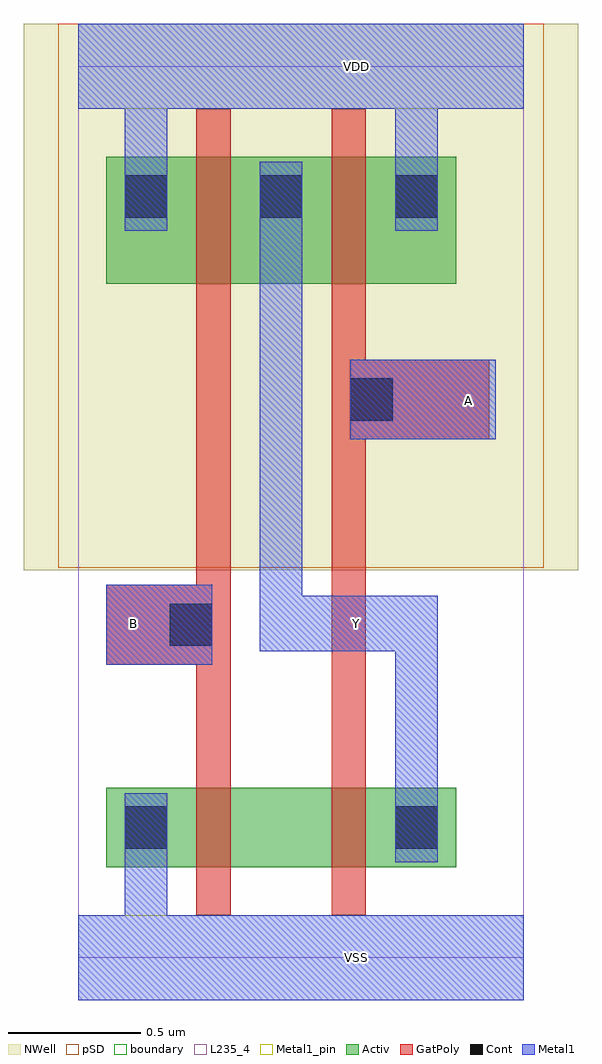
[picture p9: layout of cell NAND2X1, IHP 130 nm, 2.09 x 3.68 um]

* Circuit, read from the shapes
.subckt NAND2X1 A B VDD VSS Y
XM1 n1 B VSS VSUBS sg13_lv_nmos w=0.3u l=0.13u
XM2 Y A n1 VSUBS sg13_lv_nmos w=0.3u l=0.13u
XM3 Y B VDD n2 sg13_lv_pmos w=0.48u l=0.13u
XM4 VDD A Y n2 sg13_lv_pmos w=0.48u l=0.13u
.ends

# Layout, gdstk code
import gdstk
lib = gdstk.Library(unit=1e-6, precision=1e-09)
def R(c, l, rs):  # rectangles x0, y0, x1, y1
    for r in rs: c.add(gdstk.rectangle(r[:2], r[2:], *l))
def A(c, l, x, y, w, h, nx, ny, dx, dy):  # array of equal rectangles
    R(c, l, [(x+i*dx, y+j*dy, x+i*dx+w, y+j*dy+h) for i in range(nx) for j in range(ny)])
def P(c, l, *ps):  # polygons
    for p in ps: c.add(gdstk.Polygon(p, *l))
Activ = (1, 0)
GatPoly = (5, 0)
Cont = (6, 0)
Metal1 = (8, 0)
Metal1_pin = (8, 2)
pSD = (14, 0)
NWell = (31, 0)
boundary = (189, 4)
L235_4 = (235, 4)

nand2x1 = lib.new_cell('NAND2X1')
R(nand2x1, Activ, [(0.105,0.34,1.425,0.64), (0.105,2.54,1.425,3.02)])
P(nand2x1, GatPoly, [(0.955,0.16),(0.955,3.2),(1.085,3.2),(1.085,2.255),(1.55,2.255),(1.55,1.955),(1.085,1.955),(1.085,0.16)],
  [(0.445,0.16),(0.445,1.105),(0.105,1.105),(0.105,1.405),(0.445,1.405),(0.445,3.2),(0.575,3.2),(0.575,0.16)])
A(nand2x1, Cont, 0.175, 2.79, 0.16, 0.16, 3, 1, 0.51, 0)
R(nand2x1, Cont, [(0.175,0.41,0.335,0.57), (1.195,0.41,1.355,0.57), (0.345,1.175,0.505,1.335), (1.025,2.025,1.185,2.185)])
R(nand2x1, Metal1, [(0.105,1.105,0.505,1.405), (1.025,1.955,1.575,2.255), (0,3.2,1.68,3.52)])
P(nand2x1, Metal1, [(0,-0.16),(0,0.16),(0.175,0.16),(0.175,0.62),(0.335,0.62),(0.335,0.16),(1.68,0.16),(1.68,-0.16)],
  [(1.195,0.36),(1.195,1.155),(0.685,1.155),(0.685,3),(0.845,3),(0.845,1.365),(1.355,1.365),(1.355,0.36)],
  [(0.175,2.74),(0.175,3.2),(0,3.2),(0,3.52),(1.68,3.52),(1.68,3.2),(1.355,3.2),(1.355,2.74),(1.195,2.74),(1.195,3.2),(0.335,3.2),(0.335,2.74)])
R(nand2x1, Metal1_pin, [(0,-0.16,1.68,0.16), (0.105,1.105,0.505,1.405), (0.685,1.155,1.355,1.365), (1.025,1.955,1.575,2.255), (0,3.2,1.68,3.52)])
P(nand2x1, Metal1_pin, [(1.195,0.36),(1.195,1.155),(0.685,1.155),(0.685,3),(0.845,3),(0.845,1.365),(1.355,1.365),(1.355,0.36)])
R(nand2x1, pSD, [(-0.075,1.47,1.755,3.52)])
R(nand2x1, NWell, [(-0.205,1.46,1.885,3.52)])
R(nand2x1, boundary, [(0,0,1.68,3.36)])
R(nand2x1, L235_4, [(0,0,1.68,3.36)])
nand2x1.add(gdstk.Label('VDD', (1.05,3.36), layer=8, texttype=25))
nand2x1.add(gdstk.Label('VSS', (1.05,0), layer=8, texttype=25))
nand2x1.add(gdstk.Label('A', (1.47,2.1), layer=8, texttype=25))
nand2x1.add(gdstk.Label('Y', (1.05,1.26), layer=8, texttype=25))
nand2x1.add(gdstk.Label('B', (0.21,1.26), layer=8, texttype=25))

lib.write_gds('NAND2X1.gds')
